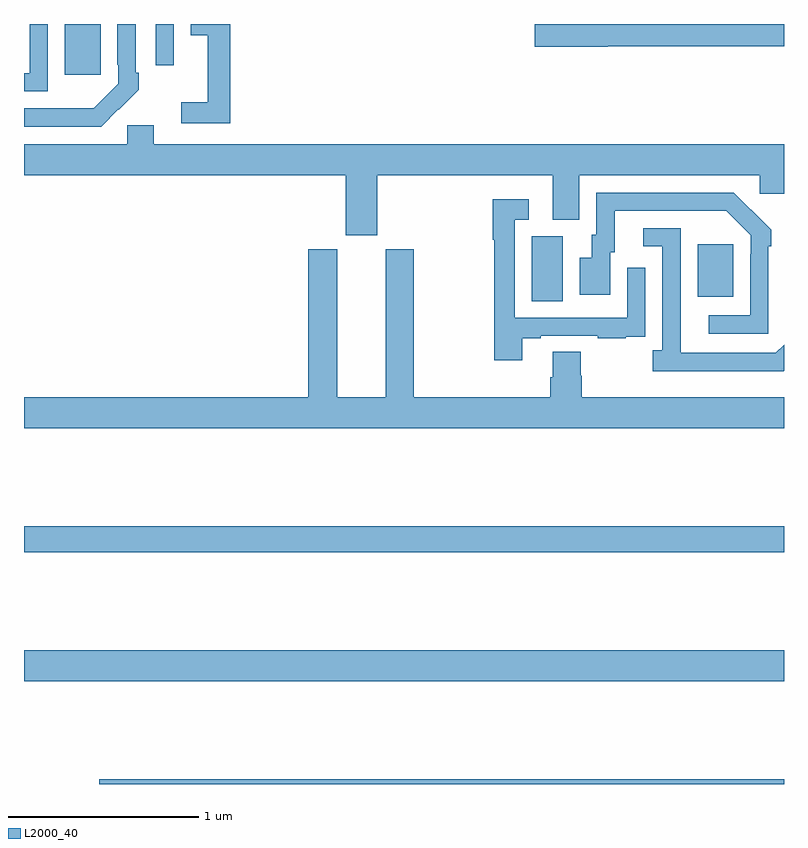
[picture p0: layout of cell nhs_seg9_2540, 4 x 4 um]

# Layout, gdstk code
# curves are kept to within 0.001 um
import gdstk
lib = gdstk.Library(unit=1e-6, precision=1e-09)
def R(c, l, rs):  # rectangles x0, y0, x1, y1
    for r in rs: c.add(gdstk.rectangle(r[:2], r[2:], *l))
def P(c, l, *ps):  # polygons
    for p in ps: c.add(gdstk.Polygon(p, *l))
L2000_40 = (2000, 40)

nhs_seg9_2540 = lib.new_cell('nhs_seg9_2540')
R(nhs_seg9_2540, L2000_40, [(255.395,1242.5,259,1242.524), (255,1243.04,259,1243.204), (255,1243.72,259,1243.856), (257.672,1245.04,257.836,1245.384), (258.545,1245.065,258.733,1245.34), (255.215,1246.233,255.403,1246.5), (255.693,1246.284,255.789,1246.5)])
P(nhs_seg9_2540, L2000_40, [(256.085,1246.5),(255.878,1246.5),(255.878,1246.442),(255.968,1246.442),(255.968,1246.087),(255.828,1246.087),(255.828,1245.978),(256.085,1245.978)],
  [(255.126,1246.5),(255.03,1246.5),(255.03,1246.242),(255,1246.242),(255,1246.146),(255.126,1246.146)],
  [(255.497,1246.051),(255.498,1246.05),(255.603,1246.155),(255.603,1246.243),(255.588,1246.243),(255.588,1246.5),(255.492,1246.5),(255.492,1246.285),(255.495,1246.285),(255.495,1246.185),(255.367,1246.057),(255,1246.056),(255,1245.96),(255.406,1245.96)],
  [(258.072,1246.384),(259,1246.384),(259,1246.5),(257.688,1246.5),(257.688,1246.379),(258.072,1246.379)],
  [(256.858,1245.704),(257.783,1245.704),(257.783,1245.469),(257.923,1245.469),(257.923,1245.704),(258.873,1245.704),(258.873,1245.606),(259,1245.606),(259,1245.868),(255.682,1245.868),(255.682,1245.966),(255.543,1245.966),(255.543,1245.868),(255,1245.868),(255,1245.704),(256.694,1245.704),(256.694,1245.387),(256.858,1245.387)],
  [(258.918,1245.329),(258.933,1245.329),(258.933,1245.417),(258.736,1245.612),(258.012,1245.612),(258.012,1245.39),(257.987,1245.39),(257.987,1245.271),(257.924,1245.271),(257.924,1245.075),(258.085,1245.075),(258.085,1245.3),(258.109,1245.3),(258.109,1245.516),(258.697,1245.516),(258.825,1245.387),(258.825,1245.287),(258.822,1245.287),(258.822,1244.967),(258.603,1244.967),(258.603,1244.871),(258.918,1244.871)],
  [(257.623,1244.847),(257.719,1244.847),(257.719,1244.859),(258.019,1244.859),(258.019,1244.847),(258.167,1244.847),(258.167,1244.853),(258.269,1244.853),(258.269,1244.962),(258.27,1244.962),(258.27,1245.217),(258.174,1245.217),(258.174,1244.955),(257.583,1244.955),(257.583,1245.471),(257.656,1245.471),(257.656,1245.577),(257.467,1245.577),(257.467,1245.364),(257.475,1245.364),(257.475,1244.73),(257.623,1244.73)],
  [(259,1244.674),(259,1244.812),(258.957,1244.769),(258.457,1244.769),(258.456,1245.426),(258.258,1245.426),(258.258,1245.33),(258.36,1245.33),(258.36,1244.782),(258.309,1244.782),(258.309,1244.672),(258.998,1244.672)],
  [(259,1244.536),(257.936,1244.536),(257.936,1244.649),(257.931,1244.649),(257.931,1244.774),(257.783,1244.774),(257.783,1244.642),(257.771,1244.642),(257.771,1244.536),(257.052,1244.536),(257.052,1245.315),(256.904,1245.315),(256.904,1244.536),(256.648,1244.536),(256.648,1245.315),(256.496,1245.315),(256.496,1244.536),(255,1244.536),(255,1244.372),(259,1244.372)])

lib.write_gds('nhs_seg9_2540.gds')
